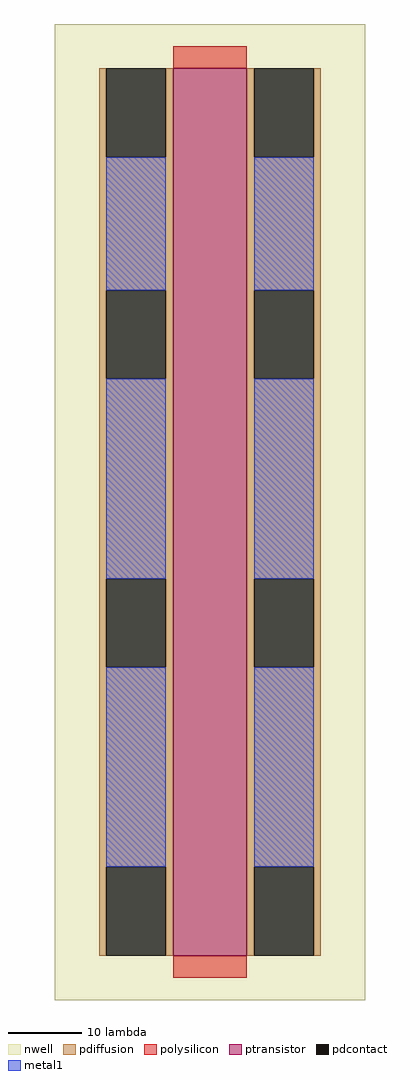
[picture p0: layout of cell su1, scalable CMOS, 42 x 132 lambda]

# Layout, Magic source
magic
tech scmos
<< nwell >>
rect -15 -7 27 125
<< ptransistor >>
rect 1 -1 11 119
<< pdiffusion >>
rect -9 107 -8 119
rect 0 107 1 119
rect -9 89 1 107
rect -9 77 -8 89
rect 0 77 1 89
rect -9 50 1 77
rect -9 38 -8 50
rect 0 38 1 50
rect -9 11 1 38
rect -9 -1 -8 11
rect 0 -1 1 11
rect 11 107 12 119
rect 20 107 21 119
rect 11 89 21 107
rect 11 77 12 89
rect 20 77 21 89
rect 11 50 21 77
rect 11 38 12 50
rect 20 38 21 50
rect 11 11 21 38
rect 11 -1 12 11
rect 20 -1 21 11
<< pdcontact >>
rect -8 107 0 119
rect -8 77 0 89
rect -8 38 0 50
rect -8 -1 0 11
rect 12 107 20 119
rect 12 77 20 89
rect 12 38 20 50
rect 12 -1 20 11
<< polysilicon >>
rect 1 119 11 122
rect 1 -4 11 -1
<< metal1 >>
rect -8 89 0 107
rect -8 50 0 77
rect -8 11 0 38
rect 12 89 20 107
rect 12 50 20 77
rect 12 11 20 38
<< end >>
